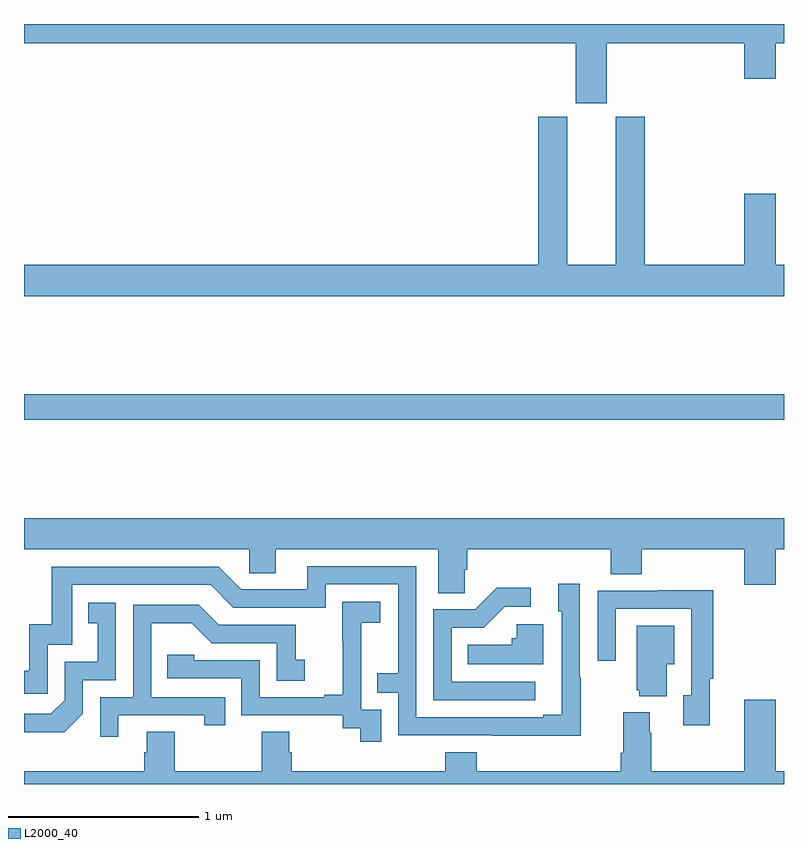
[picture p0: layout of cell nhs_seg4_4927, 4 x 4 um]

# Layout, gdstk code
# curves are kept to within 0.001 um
import gdstk
lib = gdstk.Library(unit=1e-6, precision=1e-09)
def R(c, l, rs):  # rectangles x0, y0, x1, y1
    for r in rs: c.add(gdstk.rectangle(r[:2], r[2:], *l))
def P(c, l, *ps):  # polygons
    for p in ps: c.add(gdstk.Polygon(p, *l))
L2000_40 = (2000, 40)

nhs_seg4_4927 = lib.new_cell('nhs_seg4_4927')
R(nhs_seg4_4927, L2000_40, [(377,814.816,381,814.952)])
P(nhs_seg4_4927, L2000_40, [(380.068,816.8),(380.792,816.8),(380.792,816.612),(380.956,816.612),(380.956,816.8),(381,816.8),(381,816.9),(377,816.9),(377,816.8),(379.904,816.8),(379.904,816.483),(380.068,816.483)],
  [(381,815.632),(380.956,815.632),(380.956,816.007),(380.792,816.007),(380.792,815.632),(380.267,815.632),(380.267,816.411),(380.114,816.411),(380.114,815.632),(379.858,815.632),(379.858,816.411),(379.706,816.411),(379.706,815.632),(377,815.632),(377,815.468),(381,815.468)],
  [(379.32,814.027),(379.334,814.027),(379.334,814.136),(380.087,814.136),(380.087,814.003),(380.252,814.003),(380.252,814.136),(380.792,814.136),(380.792,813.948),(380.956,813.948),(380.956,814.136),(381,814.136),(381,814.3),(377,814.3),(377,814.136),(378.186,814.136),(378.186,814.009),(378.325,814.009),(378.325,814.136),(379.181,814.136),(379.181,813.904),(379.32,813.904)],
  [(379.929,813.461),(379.926,813.461),(379.926,813.955),(379.811,813.955),(379.811,813.81),(379.83,813.81),(379.83,813.265),(379.733,813.265),(379.733,813.252),(379.065,813.252),(379.065,814.047),(378.491,814.047),(378.491,813.924),(378.144,813.924),(378.024,814.044),(377.145,814.044),(377.145,813.742),(377.027,813.742),(377.027,813.495),(377,813.495),(377,813.375),(377.124,813.375),(377.124,813.633),(377.253,813.633),(377.253,813.948),(377.982,813.948),(378.102,813.828),(378.588,813.828),(378.588,813.951),(378.969,813.951),(378.969,813.482),(378.859,813.482),(378.859,813.381),(378.969,813.381),(378.969,813.156),(379.929,813.155)],
  [(379.69,813.438),(379.251,813.438),(379.251,813.723),(379.42,813.723),(379.531,813.834),(379.666,813.834),(379.666,813.932),(379.487,813.932),(379.374,813.819),(379.155,813.819),(379.155,813.342),(379.69,813.342)],
  [(380.609,813.454),(380.627,813.454),(380.627,813.92),(380.335,813.92),(380.335,813.918),(380.019,813.918),(380.019,813.549),(380.115,813.549),(380.115,813.822),(380.511,813.822),(380.511,813.366),(380.471,813.366),(380.471,813.21),(380.609,813.21)],
  [(378.879,813.291),(378.774,813.291),(378.774,813.521),(378.776,813.521),(378.776,813.749),(378.874,813.749),(378.874,813.859),(378.676,813.859),(378.676,813.653),(378.677,813.653),(378.677,813.37),(378.581,813.37),(378.581,813.357),(378.24,813.357),(378.24,813.552),(377.895,813.552),(377.895,813.579),(377.755,813.579),(377.755,813.456),(378.144,813.456),(378.144,813.261),(378.678,813.261),(378.678,813.193),(378.771,813.193),(378.771,813.123),(378.879,813.123)],
  [(377.31,813.27),(377.31,813.447),(377.484,813.447),(377.484,813.853),(377.338,813.853),(377.338,813.747),(377.387,813.747),(377.387,813.543),(377.214,813.543),(377.214,813.342),(377.142,813.27),(377,813.27),(377,813.173),(377.212,813.173)],
  [(377.497,813.261),(377.948,813.261),(377.948,813.21),(378.059,813.21),(378.059,813.357),(377.67,813.357),(377.67,813.746),(377.884,813.746),(377.988,813.642),(378.33,813.642),(378.33,813.444),(378.478,813.444),(378.478,813.553),(378.429,813.553),(378.429,813.738),(378.025,813.738),(377.92,813.843),(377.574,813.843),(377.574,813.357),(377.4,813.357),(377.4,813.15),(377.497,813.15)],
  [(379.732,813.742),(379.593,813.742),(379.593,813.666),(379.567,813.666),(379.567,813.634),(379.336,813.634),(379.336,813.53),(379.732,813.53)],
  [(380.383,813.53),(380.422,813.53),(380.422,813.733),(380.225,813.733),(380.225,813.393),(380.237,813.393),(380.237,813.362),(380.383,813.362)],
  [(381,812.968),(380.956,812.968),(380.956,813.343),(380.792,813.343),(380.792,812.968),(380.301,812.968),(380.301,813.17),(380.293,813.17),(380.293,813.277),(380.153,813.277),(380.153,813.064),(380.141,813.064),(380.141,812.968),(379.382,812.968),(379.382,813.067),(379.217,813.067),(379.217,812.968),(378.41,812.968),(378.41,813.066),(378.397,813.066),(378.397,813.176),(378.25,813.176),(378.25,812.968),(377.793,812.968),(377.793,813.176),(377.645,813.176),(377.645,813.066),(377.633,813.066),(377.633,812.968),(377,812.968),(377,812.9),(381,812.9)])

lib.write_gds('nhs_seg4_4927.gds')
